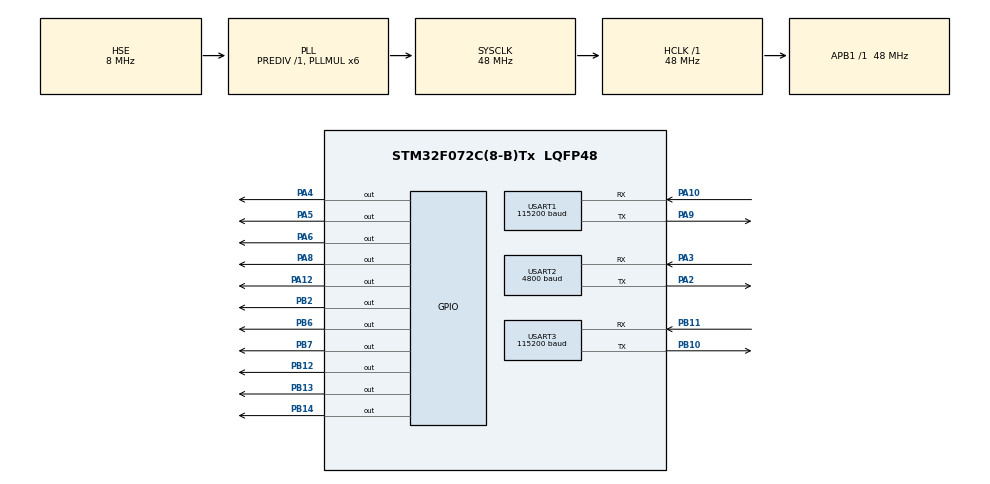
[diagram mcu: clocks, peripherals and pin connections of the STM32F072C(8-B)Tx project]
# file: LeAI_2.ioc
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Dma.Request0=USART1_RX
Dma.Request1=USART1_TX
Dma.Request2=USART3_RX
Dma.Request3=USART3_TX
Dma.Request4=USART2_RX
Dma.Request5=USART2_TX
Dma.USART1_RX.0.Direction=DMA_PERIPH_TO_MEMORY
Dma.USART1_RX.0.Instance=DMA1_Channel3
Dma.USART1_RX.0.MemDataAlignment=DMA_MDATAALIGN_BYTE
Dma.USART1_RX.0.MemInc=DMA_MINC_ENABLE
Dma.USART1_RX.0.Mode=DMA_CIRCULAR
Dma.USART1_RX.0.PeriphDataAlignment=DMA_PDATAALIGN_BYTE
Dma.USART1_RX.0.PeriphInc=DMA_PINC_DISABLE
Dma.USART1_RX.0.Priority=DMA_PRIORITY_LOW
Dma.USART1_TX.1.Direction=DMA_MEMORY_TO_PERIPH
Dma.USART1_TX.1.Instance=DMA1_Channel2
Dma.USART1_TX.1.MemDataAlignment=DMA_MDATAALIGN_BYTE
Dma.USART1_TX.1.MemInc=DMA_MINC_ENABLE
Dma.USART1_TX.1.Mode=DMA_NORMAL
Dma.USART1_TX.1.PeriphDataAlignment=DMA_PDATAALIGN_BYTE
Dma.USART1_TX.1.PeriphInc=DMA_PINC_DISABLE
Dma.USART1_TX.1.Priority=DMA_PRIORITY_LOW
Dma.USART2_RX.4.Direction=DMA_PERIPH_TO_MEMORY
Dma.USART2_RX.4.Instance=DMA1_Channel5
Dma.USART2_RX.4.MemDataAlignment=DMA_MDATAALIGN_BYTE
Dma.USART2_RX.4.MemInc=DMA_MINC_ENABLE
Dma.USART2_RX.4.Mode=DMA_CIRCULAR
Dma.USART2_RX.4.PeriphDataAlignment=DMA_PDATAALIGN_BYTE
Dma.USART2_RX.4.PeriphInc=DMA_PINC_DISABLE
Dma.USART2_RX.4.Priority=DMA_PRIORITY_LOW
Dma.USART2_TX.5.Direction=DMA_MEMORY_TO_PERIPH
Dma.USART2_TX.5.Instance=DMA1_Channel4
Dma.USART2_TX.5.MemDataAlignment=DMA_MDATAALIGN_BYTE
Dma.USART2_TX.5.MemInc=DMA_MINC_ENABLE
Dma.USART2_TX.5.Mode=DMA_CIRCULAR
Dma.USART2_TX.5.PeriphDataAlignment=DMA_PDATAALIGN_BYTE
Dma.USART2_TX.5.PeriphInc=DMA_PINC_DISABLE
Dma.USART2_TX.5.Priority=DMA_PRIORITY_LOW
Dma.USART3_RX.2.Direction=DMA_PERIPH_TO_MEMORY
Dma.USART3_RX.2.Instance=DMA1_Channel6
Dma.USART3_RX.2.MemDataAlignment=DMA_MDATAALIGN_BYTE
Dma.USART3_RX.2.MemInc=DMA_MINC_ENABLE
Dma.USART3_RX.2.Mode=DMA_CIRCULAR
Dma.USART3_RX.2.PeriphDataAlignment=DMA_PDATAALIGN_BYTE
Dma.USART3_RX.2.PeriphInc=DMA_PINC_DISABLE
Dma.USART3_RX.2.Priority=DMA_PRIORITY_HIGH
Dma.USART3_TX.3.Direction=DMA_MEMORY_TO_PERIPH
Dma.USART3_TX.3.Instance=DMA1_Channel7
Dma.USART3_TX.3.MemDataAlignment=DMA_MDATAALIGN_BYTE
Dma.USART3_TX.3.MemInc=DMA_MINC_ENABLE
Dma.USART3_TX.3.Mode=DMA_NORMAL
Dma.USART3_TX.3.PeriphDataAlignment=DMA_PDATAALIGN_BYTE
Dma.USART3_TX.3.PeriphInc=DMA_PINC_DISABLE
Dma.USART3_TX.3.Priority=DMA_PRIORITY_HIGH
Mcu.Family=STM32F0
Mcu.Name=STM32F072C(8-B)Tx
Mcu.Package=LQFP48
NVIC.DMA1_Channel2_3_IRQn=true\:0\:0\:false\:false\:true\:false\:true
NVIC.DMA1_Channel4_5_6_7_IRQn=true\:0\:0\:false\:false\:true\:false\:true
NVIC.USART1_IRQn=true\:0\:0\:false\:false\:true\:true\:true
NVIC.USART2_IRQn=true\:0\:0\:false\:false\:true\:true\:true
NVIC.USART3_4_IRQn=true\:0\:0\:false\:false\:true\:true\:true
PA10.GPIO_ModeDefaultPP=GPIO_MODE_AF_OD
PA10.GPIO_PuPd=GPIO_NOPULL
PA10.Mode=Asynchronous
PA10.Signal=USART1_RX
PA12.GPIO_ModeDefaultOutputPP=GPIO_MODE_OUTPUT_PP
PA12.GPIO_Speed=GPIO_SPEED_FREQ_LOW
PA12.Signal=GPIO_Output
PA2.Mode=Asynchronous
PA2.Signal=USART2_TX
PA3.Mode=Asynchronous
PA3.Signal=USART2_RX
PA4.GPIO_ModeDefaultOutputPP=GPIO_MODE_OUTPUT_PP
PA4.GPIO_PuPd=GPIO_NOPULL
PA4.GPIO_Speed=GPIO_SPEED_FREQ_HIGH
PA4.Signal=GPIO_Output
PA5.Signal=GPIO_Output
PA6.Signal=GPIO_Output
PA8.Signal=GPIO_Output
PA9.GPIO_ModeDefaultPP=GPIO_MODE_AF_OD
PA9.GPIO_PuPd=GPIO_NOPULL
PA9.Mode=Asynchronous
PA9.Signal=USART1_TX
PB10.GPIO_ModeDefaultPP=GPIO_MODE_AF_PP
PB10.GPIO_PuPd=GPIO_PULLUP
PB10.GPIO_Speed=GPIO_SPEED_FREQ_LOW
PB10.Mode=Asynchronous
PB10.Signal=USART3_TX
PB11.GPIO_ModeDefaultPP=GPIO_MODE_AF_OD
PB11.GPIO_PuPd=GPIO_NOPULL
PB11.GPIO_Speed=GPIO_SPEED_FREQ_LOW
PB11.Mode=Asynchronous
PB11.Signal=USART3_RX
PB12.Signal=GPIO_Output
PB13.Signal=GPIO_Output
PB14.Signal=GPIO_Output
PB2.Signal=GPIO_Output
PB6.GPIO_ModeDefaultOutputPP=GPIO_MODE_OUTPUT_PP
PB6.Signal=GPIO_Output
PB7.GPIO_ModeDefaultOutputPP=GPIO_MODE_OUTPUT_PP
PB7.GPIO_PuPd=GPIO_NOPULL
PB7.Signal=GPIO_Output
PF0-OSC_IN.Mode=HSE-External-Oscillator
PF0-OSC_IN.Signal=RCC_OSC_IN
PF1-OSC_OUT.Mode=HSE-External-Oscillator
PF1-OSC_OUT.Signal=RCC_OSC_OUT
ProjectManager.HeapSize=0x200
ProjectManager.StackSize=0x400
ProjectManager.TargetToolchain=MDK-ARM V5.27
RCC.AHBFreq_Value=48000000
RCC.APB1Freq_Value=48000000
RCC.APB1TimFreq_Value=48000000
RCC.HCLKFreq_Value=48000000
RCC.PLLMUL=RCC_PLL_MUL6
RCC.PLLSourceVirtual=RCC_PLLSOURCE_HSE
RCC.SYSCLKFreq_VALUE=48000000
RCC.SYSCLKSource=RCC_SYSCLKSOURCE_PLLCLK
USART1.BaudRate=115200
USART1.VirtualMode-Asynchronous=VM_ASYNC
USART2.BaudRate=4800
USART2.VirtualMode-Asynchronous=VM_ASYNC
USART3.BaudRate=115200
USART3.SwapParam=ADVFEATURE_SWAP_ENABLE
USART3.VirtualMode-Asynchronous=VM_ASYNC
board=custom

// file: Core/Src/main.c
/* USER CODE BEGIN Header */
/**
  ******************************************************************************
  * @file           : main.c
  * @brief          : Main program body
  ******************************************************************************
  * @attention
  *
  * <h2><center>&copy; Copyright (c) 2020 STMicroelectronics.
  * All rights reserved.</center></h2>
  *
  * This software component is licensed by ST under BSD 3-Clause license,
  * the "License"; You may not use this file except in compliance with the
  * License. You may obtain a copy of the License at:
  *                        opensource.org/licenses/BSD-3-Clause
  *
  ******************************************************************************
  */
/* USER CODE END Header */

#include "main.h"

/* USER CODE BEGIN Includes */
#include <string.h>
#include <stdbool.h>
#include "stdio.h"
#include "tool.h"
#include "bc20.h"
#include "bms.h"
#include "task.h"
#include "led.h"
#include "timer.h"
#include "track.h"
#include "app_gnss.h"
/* USER CODE END Includes */

UART_HandleTypeDef huart1;
UART_HandleTypeDef huart2;
UART_HandleTypeDef huart3;
DMA_HandleTypeDef hdma_usart1_rx;
DMA_HandleTypeDef hdma_usart1_tx;
DMA_HandleTypeDef hdma_usart2_rx;
DMA_HandleTypeDef hdma_usart2_tx;
DMA_HandleTypeDef hdma_usart3_rx;
DMA_HandleTypeDef hdma_usart3_tx;

/* USER CODE BEGIN PV */
/*
uart1:dbg, 115200
uart2:bms, 4800
uart3:bc, 115200
*/
#define UPLOAD_RETRY_MAX 10 //数据上传最大重试次数
bool bms_data_new;
char msg[MSG_LEN];
uint8_t upload_retry; //数据上传重试次数

//uint8_t bms_read.step;
//uint8_t bms_upload.step;
//uint8_t gnss_read.step;
//uint8_t gnss_upload.step;
stu_father father;
stu_bms_read bms_read;
stu_bms_upload bms_upload;
stu_gnss_read gnss_read;
stu_need_path need_path;
stu_daemon daemon;

uint8_t task_led = Task_00;
uint8_t task_bms_read = Task_01;
uint8_t task_bms_upload = Task_02;
uint8_t task_upload_daemon = Task_03;
uint8_t task_gnss_read = Task_04;
uint8_t task_gnss_upload = Task_05;
uint8_t task_nb_cmd = Task_06;
uint8_t task_father = Task_07;
uint8_t task_track = Task_08;
uint8_t task_need_path = Task_09;

/* USER CODE END PV */

void SystemClock_Config(void);
static void MX_GPIO_Init(void);
static void MX_DMA_Init(void);
static void MX_USART1_UART_Init(void);
static void MX_USART3_UART_Init(void);
static void MX_USART2_UART_Init(void);
/* USER CODE BEGIN PFP */
void led_blink(void);
bool sys_init(void);
void dcdc_open(void);
bool sys_init(void);
void led_blink(void);
void data_read(void);
void data_upload(void);
void data_upload_daemon(void);
void gnss_upload_task(void);
void gnss_read_task(void);
void nb_cmd_exe(void);
void father_task(void);
void need_path_task(void);
/* USER CODE END PFP */

int main(void)
{

  /* MCU Configuration--------------------------------------------------------*/

  /* Reset of all peripherals, Initializes the Flash interface and the Systick. */
  HAL_Init();

  /* Configure the system clock */
  SystemClock_Config();

  /* Initialize all configured peripherals */
  MX_GPIO_Init();
  MX_DMA_Init();
  MX_USART1_UART_Init();
  MX_USART3_UART_Init();
  MX_USART2_UART_Init();
  /* USER CODE BEGIN 2 */
  /*
  串口使用说明
  USART1: Debug
  USART2: 485,BMS
  USART3: NB,BC20
  */
  dcdc_open();                //�?启DCDC电源
  __HAL_DBGMCU_FREEZE_IWDG(); //调试时关�?看门�?

  dbg_uart_recv = bms_uart_recv = bc_uart_recv = false;
  dbg_uart_recv_len = bms_uart_recv_len = bc_uart_recv_len = 0;
  dbg_uart_dma_len = bms_uart_dma_len = bc_uart_dma_len = BUF_LEN;

  memset(&bms_upload, 0x00, sizeof(stu_bms_upload));
  memset(&bms_read, 0x00, sizeof(stu_bms_read));
  memset(&gnss_read, 0x00, sizeof(stu_gnss_read));
  memset(&gnss_upload, 0x00, sizeof(stu_gnss_upload));
  memset(&father, 0x00, sizeof(stu_father));
  memset(&daemon, 0x00, sizeof(stu_daemon));
#if defined(DBGMCU_APB1_FZ_DBG_IWDG_STOP)
  printf("DBGMCU_APB1_FZ_DBG_IWDG_STOP defined.\r\n");
#endif
  //看门狗时间Tout = 4*4096/40000 = 0.4096S
  led_close(0);
  led_close(1);
  led_close(2);
  led_close(3);
  led_close(4);
  led_close(5);

  led_toggen(LED_SYS);
  bms_init();
  led_toggen(LED_SYS);
//  while(1)
//  {
//      HAL_Delay(1000);
//        led_toggen(LED_SYS);
//  }
  if (!sys_init())
  {
    printf("系统初�?�化失败�?");
    while (1)
      ;
  }

  if ((TASK_INITIALIZED != configTask(task_led, led_blink, TASK_1S)) || (TASK_STARTED != startTask(task_led, 1)))
  {
    printf("CREATE TASK ERROR(%u)!\n", __LINE__);
    return 1;
  }
  if ((TASK_INITIALIZED != configTask(task_bms_read, data_read, TASK_100MS)) || (TASK_STARTED != startTask(task_bms_read, 1)))
  {
    printf("CREATE TASK ERROR(%u)!\n", __LINE__);
    return 1;
  }

  if ((TASK_INITIALIZED != configTask(task_bms_upload, data_upload, TASK_100MS)) || (TASK_STARTED != startTask(task_bms_upload, 1)))
  {
    printf("CREATE TASK ERROR(%u)!\n", __LINE__);
    return 1;
  }

  if ((TASK_INITIALIZED != configTask(task_upload_daemon, data_upload_daemon, TASK_1S)) || (TASK_STARTED != startTask(task_upload_daemon, 1)))
  {
    printf("CREATE TASK ERROR(%u)!\n", __LINE__);
    return 1;
  }

  if ((TASK_INITIALIZED != configTask(task_gnss_read, gnss_read_task, TASK_100MS)) || (TASK_STARTED != startTask(task_gnss_read, 1)))
  {
    printf("CREATE TASK ERROR(%u)!\n", __LINE__);
    return 1;
  }

  if ((TASK_INITIALIZED != configTask(task_gnss_upload, gnss_upload_task, TASK_100MS)) || (TASK_STARTED != startTask(task_gnss_upload, 1)))
  {
    printf("CREATE TASK ERROR(%u)!\n", __LINE__);
    return 1;
  }

  if ((TASK_INITIALIZED != configTask(task_nb_cmd, nb_cmd_exe, TASK_10MS)) || (TASK_STARTED != startTask(task_nb_cmd, 1)))
  {
    printf("CREATE TASK ERROR(%u)!\n", __LINE__);
    return 1;
  }

  if ((TASK_INITIALIZED != configTask(task_father, father_task, TASK_1S)) || (TASK_STARTED != startTask(task_father, 1)))
  {
    printf("CREATE TASK ERROR(%u)!\n", __LINE__);
    return 1;
  }
  printf("begin run\n");

  if ((TASK_INITIALIZED != configTask(task_need_path, need_path_task, TASK_100MS * 5)) || (TASK_STARTED != startTask(task_need_path, 1)))
  {
    printf("CREATE TASK ERROR(%u)!\n", __LINE__);
    return 1;
  }
  printf("begin run\n");

  /* USER CODE END 2 */

  /* Infinite loop */
  /* USER CODE BEGIN WHILE */
  while (1)
  {
    FEED_DOG;
    task_handler();

    /* USER CODE END WHILE */

  }
}

void SystemClock_Config(void)
{
  RCC_OscInitTypeDef RCC_OscInitStruct = {0};
  RCC_ClkInitTypeDef RCC_ClkInitStruct = {0};
  RCC_PeriphCLKInitTypeDef PeriphClkInit = {0};

  /** Initializes the CPU, AHB and APB busses clocks
  */
  RCC_OscInitStruct.OscillatorType = RCC_OSCILLATORTYPE_HSE;
  RCC_OscInitStruct.HSEState = RCC_HSE_ON;
  RCC_OscInitStruct.PLL.PLLState = RCC_PLL_ON;
  RCC_OscInitStruct.PLL.PLLSource = RCC_PLLSOURCE_HSE;
  RCC_OscInitStruct.PLL.PLLMUL = RCC_PLL_MUL6;
  RCC_OscInitStruct.PLL.PREDIV = RCC_PREDIV_DIV1;
  if (HAL_RCC_OscConfig(&RCC_OscInitStruct) != HAL_OK)
  {
    Error_Handler();
  }
  /** Initializes the CPU, AHB and APB busses clocks
  */
  RCC_ClkInitStruct.ClockType = RCC_CLOCKTYPE_HCLK|RCC_CLOCKTYPE_SYSCLK
                              |RCC_CLOCKTYPE_PCLK1;
  RCC_ClkInitStruct.SYSCLKSource = RCC_SYSCLKSOURCE_PLLCLK;
  RCC_ClkInitStruct.AHBCLKDivider = RCC_SYSCLK_DIV1;
  RCC_ClkInitStruct.APB1CLKDivider = RCC_HCLK_DIV1;

  if (HAL_RCC_ClockConfig(&RCC_ClkInitStruct, FLASH_LATENCY_1) != HAL_OK)
  {
    Error_Handler();
  }
  PeriphClkInit.PeriphClockSelection = RCC_PERIPHCLK_USART1|RCC_PERIPHCLK_USART2;
  PeriphClkInit.Usart1ClockSelection = RCC_USART1CLKSOURCE_PCLK1;
  PeriphClkInit.Usart2ClockSelection = RCC_USART2CLKSOURCE_PCLK1;
  if (HAL_RCCEx_PeriphCLKConfig(&PeriphClkInit) != HAL_OK)
  {
    Error_Handler();
  }
}

static void MX_USART1_UART_Init(void)
{

  huart1.Instance = USART1;
  huart1.Init.BaudRate = 115200;
  huart1.Init.WordLength = UART_WORDLENGTH_8B;
  huart1.Init.StopBits = UART_STOPBITS_1;
  huart1.Init.Parity = UART_PARITY_NONE;
  huart1.Init.Mode = UART_MODE_TX_RX;
  huart1.Init.HwFlowCtl = UART_HWCONTROL_NONE;
  huart1.Init.OverSampling = UART_OVERSAMPLING_16;
  huart1.Init.OneBitSampling = UART_ONE_BIT_SAMPLE_DISABLE;
  huart1.AdvancedInit.AdvFeatureInit = UART_ADVFEATURE_NO_INIT;
  if (HAL_UART_Init(&huart1) != HAL_OK)
  {
    Error_Handler();
  }
  /* USER CODE BEGIN USART1_Init 2 */
  __HAL_UART_ENABLE_IT(&huart1, UART_IT_IDLE);
  HAL_UART_Receive_DMA(&huart1, dbg_uart_buf, BUF_LEN); //

  /* USER CODE END USART1_Init 2 */

}

static void MX_USART2_UART_Init(void)
{

  huart2.Instance = USART2;
  huart2.Init.BaudRate = 4800;
  huart2.Init.WordLength = UART_WORDLENGTH_8B;
  huart2.Init.StopBits = UART_STOPBITS_1;
  huart2.Init.Parity = UART_PARITY_NONE;
  huart2.Init.Mode = UART_MODE_TX_RX;
  huart2.Init.HwFlowCtl = UART_HWCONTROL_NONE;
  huart2.Init.OverSampling = UART_OVERSAMPLING_16;
  huart2.Init.OneBitSampling = UART_ONE_BIT_SAMPLE_DISABLE;
  huart2.AdvancedInit.AdvFeatureInit = UART_ADVFEATURE_NO_INIT;
  if (HAL_UART_Init(&huart2) != HAL_OK)
  {
    Error_Handler();
  }
  /* USER CODE BEGIN USART2_Init 2 */
  __HAL_UART_ENABLE_IT(&huart2, UART_IT_IDLE);

  /* USER CODE END USART2_Init 2 */

}

static void MX_USART3_UART_Init(void)
{

  huart3.Instance = USART3;
  huart3.Init.BaudRate = 115200;
  huart3.Init.WordLength = UART_WORDLENGTH_8B;
  huart3.Init.StopBits = UART_STOPBITS_1;
  huart3.Init.Parity = UART_PARITY_NONE;
  huart3.Init.Mode = UART_MODE_TX_RX;
  huart3.Init.HwFlowCtl = UART_HWCONTROL_NONE;
  huart3.Init.OverSampling = UART_OVERSAMPLING_16;
  huart3.Init.OneBitSampling = UART_ONE_BIT_SAMPLE_DISABLE;
  huart3.AdvancedInit.AdvFeatureInit = UART_ADVFEATURE_SWAP_INIT;
  huart3.AdvancedInit.Swap = UART_ADVFEATURE_SWAP_ENABLE;
  if (HAL_UART_Init(&huart3) != HAL_OK)
  {
    Error_Handler();
  }
  /* USER CODE BEGIN USART3_Init 2 */
  bc_uart_fifo.header = bc_uart_fifo.tail = 0;
  __HAL_UART_ENABLE_IT(&huart3, UART_IT_IDLE);
  HAL_UART_Receive_DMA(&huart3, bc_uart_fifo.buf[bc_uart_fifo.header].dat, BUF_LEN); //

  /* USER CODE END USART3_Init 2 */

}

static void MX_DMA_Init(void)
{

  /* DMA controller clock enable */
  __HAL_RCC_DMA1_CLK_ENABLE();

  /* DMA interrupt init */
  /* DMA1_Channel2_3_IRQn interrupt configuration */
  HAL_NVIC_SetPriority(DMA1_Channel2_3_IRQn, 0, 0);
  HAL_NVIC_EnableIRQ(DMA1_Channel2_3_IRQn);
  /* DMA1_Channel4_5_6_7_IRQn interrupt configuration */
  HAL_NVIC_SetPriority(DMA1_Channel4_5_6_7_IRQn, 0, 0);
  HAL_NVIC_EnableIRQ(DMA1_Channel4_5_6_7_IRQn);

}

static void MX_GPIO_Init(void)
{
  GPIO_InitTypeDef GPIO_InitStruct = {0};

  /* GPIO Ports Clock Enable */
  __HAL_RCC_GPIOF_CLK_ENABLE();
  __HAL_RCC_GPIOA_CLK_ENABLE();
  __HAL_RCC_GPIOB_CLK_ENABLE();

  /*Configure GPIO pin Output Level */
  HAL_GPIO_WritePin(GPIOA, GPIO_PIN_4|GPIO_PIN_5|GPIO_PIN_6|GPIO_PIN_8
                          |GPIO_PIN_12, GPIO_PIN_RESET);

  /*Configure GPIO pin Output Level */
  HAL_GPIO_WritePin(GPIOB, GPIO_PIN_2|GPIO_PIN_12|GPIO_PIN_13|GPIO_PIN_14
                          |GPIO_PIN_6|GPIO_PIN_7, GPIO_PIN_RESET);

  /*Configure GPIO pin : PA4 */
  GPIO_InitStruct.Pin = GPIO_PIN_4;
  GPIO_InitStruct.Mode = GPIO_MODE_OUTPUT_PP;
  GPIO_InitStruct.Pull = GPIO_NOPULL;
  GPIO_InitStruct.Speed = GPIO_SPEED_FREQ_HIGH;
  HAL_GPIO_Init(GPIOA, &GPIO_InitStruct);

  /*Configure GPIO pins : PA5 PA6 PA8 PA12 */
  GPIO_InitStruct.Pin = GPIO_PIN_5|GPIO_PIN_6|GPIO_PIN_8|GPIO_PIN_12;
  GPIO_InitStruct.Mode = GPIO_MODE_OUTPUT_PP;
  GPIO_InitStruct.Pull = GPIO_NOPULL;
  GPIO_InitStruct.Speed = GPIO_SPEED_FREQ_LOW;
  HAL_GPIO_Init(GPIOA, &GPIO_InitStruct);

  /*Configure GPIO pins : PB2 PB12 PB13 PB14
                           PB6 PB7 */
  GPIO_InitStruct.Pin = GPIO_PIN_2|GPIO_PIN_12|GPIO_PIN_13|GPIO_PIN_14
                          |GPIO_PIN_6|GPIO_PIN_7;
  GPIO_InitStruct.Mode = GPIO_MODE_OUTPUT_PP;
  GPIO_InitStruct.Pull = GPIO_NOPULL;
  GPIO_InitStruct.Speed = GPIO_SPEED_FREQ_LOW;
  HAL_GPIO_Init(GPIOB, &GPIO_InitStruct);

}

/* USER CODE BEGIN 4 */
//void SysTick_Handler(void)
//{
//  systick_count++;
//  HAL_IncTick();
//  HAL_SYSTICK_IRQHandler();
//}

void led_blink()
{
  led_toggen(LED_SYS);
}

#ifdef __GNUC__
#define PUTCHAR_PROTOTYPE int __io_putchar(int ch)
#else
#define PUTCHAR_PROTOTYPE int fputc(int ch, FILE *f)
#endif
PUTCHAR_PROTOTYPE
{
  HAL_UART_Transmit(&huart1, (uint8_t *)&ch, 1, 0xFFFF);
  return ch;
}

/*
�?启dcdc�?
先开启VDD EN，使得DCDC电路�?始工�?
等待500ms（�?�果示波器测试ok�?以缩�?这个时间�?
再开启VCC SET，�?�置为�?�过DCDC供电
*/
void dcdc_open(void)
{
  //先开启VDD EN，使得DCDC电路�?始工�?
  HAL_GPIO_WritePin(GPIOA, GPIO_PIN_5, GPIO_PIN_SET);

  //等待500ms（�?�果示波器测试ok�?以缩�?这个时间�?
  osDelay(500);

  //再开启VCC SET，�?�置为�?�过DCDC供电
  HAL_GPIO_WritePin(GPIOA, GPIO_PIN_6, GPIO_PIN_SET);
}

bool sys_init()
{
  led_toggen(LED_SYS);
  led_open(LED_NB);
  bc_reset();

  led_toggen(LED_SYS);
  if (!bc_init())
  {
    sys_reset();
    return false;
  }

  led_toggen(LED_SYS);
  if (!bc_pdp_act())
  {
    sys_reset();
    return false;
  }

  led_toggen(LED_SYS);
  if (!bc_conn_LWM2M())
  {
    sys_reset();
    return false;
  }

  led_toggen(LED_SYS);
  if (!bc_init_gnss())
  {
    sys_reset();
    return false;
  }
  led_toggen(LED_SYS);

  printf(">> System started.\n");
  printf("\n--- --- --- --- --- --- --- --- --- --- --- --- --- --- --- --- ---\n\n");
  printf("Hi, I'm LeAI mini:)\n\n");
  printf("LeAI was born on March 17, 2020,\n");
  printf("LeAI_mini was born on May 27, 2020,\n");
  printf("I am created on Sep 23, 2020.\n");
  printf("Time flies, come on!\n");
  printf("\n--- --- --- --- --- --- --- --- --- --- --- --- --- --- --- --- ---\n");

  return true;
}

void data_read()
{
  switch (bms_read.step)
  {
  case 0x00:
    //防�?�出现bms_data_new还没有�?�false，但是data_upload任务已经�?干掉的情况�?�致锁�??
    if (bms_read.to_stop)
    {
      bms_read.step = 0xFF;
      break;
    }
    else
    {
      if (bms_data_new)
      {
        bms_read.step = 0xFF;
      }
      else
      {
        printf("\r\nread data...");
        led_toggen(LED_BMS);
        bms_read.step++;
      }
    }
    break;

  case 0x01:
    printf("|ntc");
    if (!bms_get_ntc())
      bms_read.step = 0xFF;
    led_toggen(LED_BMS);
    bms_read.step++;
    break;

  case 0x02:
    printf("|cell_v");
    if (!bms_get_v())
      bms_read.step = 0xFF;
    led_toggen(LED_BMS);
    bms_read.step++;
    break;

  case 0x03:
    printf("|pack_i");
    if (!bms_get_i())
      bms_read.step = 0xFF;
    led_toggen(LED_BMS);
    bms_read.step++;
    break;

  case 0x04:
    printf("|pack_v");
    if (!bms_get_pack_v())
      bms_read.step = 0xFF;
    led_toggen(LED_BMS);
    bms_read.step++;
    break;

  case 0x05:
    printf("|fcc");
    if (!bms_get_fcc())
      bms_read.step = 0xFF;
    led_toggen(LED_BMS);
    bms_read.step++;
    break;

  case 0x06:
    printf("|soc");
    if (!bms_get_soc())
      bms_read.step = 0xFF;
    led_toggen(LED_BMS);
    bms_read.step++;
    break;

  case 0x07:
    printf("|bms_get_status");
    if (!bms_get_status())
      bms_read.step = 0xFF;
    led_toggen(LED_BMS);
    bms_read.step++;
    break;

  case 0x08:
    bms_data_new = true;
    bms_read.step++;
    led_open(LED_BMS);
    break;

  default:
    if (bms_read.to_stop)
    {
      bms_read.stopped = true;
    }
    else
    {
      bms_read.step = 0;
    }
    break;
  }
}

void data_upload()
{
#define BMS_UPLOAD_OVER 0xF0
  static uint8_t index;
  //  static uint8_t first;
  switch (bms_upload.step)
  {
  case 0x00:
    if (bms_upload.to_stop)
    {
      bms_upload.step = 0xFF;
      break;
    }
    else
    {
      if (bms_data_new)
      {
        if (!bc_lock())
        {
          printf("\r\ndata upload\r\n");
          set_bc_lock(true); //BMS upload�?�?
          printf("set_bc_lock(true) in %u\r\n", __LINE__);
          index = 6;
          bms_upload.step++;
        }
      }
    }
    break;

  case 0x01:
    sprintf(msg, "ntc,%u,%u,%u,%u,%u",
            ntc[0], ntc[1], ntc[2], ntc[3], ntc[4]);
    sprintf(atstr, "AT+MIPLNOTIFY=0,%s,%u,0,%u,1,%d,\"%s\",%u,0\r\n", objtnum, BAT_OBJ, NTC_RES, strlen(msg), msg, index);
    printf("atstr(%u)=%s\r\n:", strlen(atstr), atstr);
    nb_cmd_async(atstr);
    led_toggen(LED_NB);
    index--;
    //   first = true;
    tm_set(TM_BMS, 3000);
    bms_upload.step++;
    break;
  case 0x02:
    if (!tm_out(TM_BMS))
    {
      if (bc_uart_load_buf(nb_recv))
      {
        printf("*******************\r\n");
        printf(nb_recv);
        printf("*******************\r\n");
        /*
        if (first)
        {
          printf("first msg, skip.\r\n");
          first = false;
        }
        else
        {
        */
        if (strstr(nb_recv, "OK"))
        {
          bms_upload.step++;
        }
        //}
      }
    }
    else
    {
      //等待消息失败
      bms_upload.step = BMS_UPLOAD_OVER;
      upload_retry++;
    }
    break;

  case 0x03:
    sprintf(msg, "cell_v1,%u,%u,%u,%u,%u",
            cell_v[0], cell_v[1], cell_v[2], cell_v[3], cell_v[4]);
    sprintf(atstr, "AT+MIPLNOTIFY=0,%s,%u,0,%u,1,%d,\"%s\",%u,0\r\n", objtnum, BAT_OBJ, CELL_RES_1_5, strlen(msg), msg, index);
    printf("atstr(%u)=%s\r\n:", strlen(atstr), atstr);
    nb_cmd_async(atstr);
    led_toggen(LED_NB);
    index--;
    //    first = true;
    tm_set(TM_BMS, 3000);
    bms_upload.step++;
    break;
  case 0x04:
    if (!tm_out(TM_BMS))
    {
      if (bc_uart_load_buf(nb_recv))
      {
        printf("*******************\r\n");
        printf(nb_recv);
        printf("*******************\r\n");
        /*
        if (first)
        {
          printf("first msg, skip.\r\n");
          first = false;
        }
        else
        {
          */
        if (strstr(nb_recv, "OK"))
        {
          bms_upload.step++;
        }
        //}
      }
    }
    else
    {
      bms_upload.step = BMS_UPLOAD_OVER;
      upload_retry++;
    }
    break;
  case 0x05:
    sprintf(msg, "cell_v2,%u,%u,%u,%u,%u",
            cell_v[5], cell_v[6], cell_v[7], cell_v[8], cell_v[9]);
    sprintf(atstr, "AT+MIPLNOTIFY=0,%s,%u,0,%u,1,%d,\"%s\",%u,0\r\n", objtnum, BAT_OBJ, CELL_RES_6_10, strlen(msg), msg, index);
    printf("atstr(%u)=%s\r\n:", strlen(atstr), atstr);
    nb_cmd_async(atstr);
    led_toggen(LED_NB);
    index--;
    //    first = true;
    tm_set(TM_BMS, 3000);
    bms_upload.step++;
    break;
  case 0x06:
    if (!tm_out(TM_BMS))
    {
      if (bc_uart_load_buf(nb_recv))
      {
        printf("*******************\r\n");
        printf(nb_recv);
        printf("*******************\r\n");
        /*
        if (first)
        {
          printf("first msg, skip.\r\n");
          first = false;
        }
        else
        {

*/
        if (strstr(nb_recv, "OK"))
        {
          bms_upload.step++;
        }
        //}
      }
    }
    else
    {
      bms_upload.step = BMS_UPLOAD_OVER;
      upload_retry++;
    }
    break;
  case 0x07:
    sprintf(msg, "cell_v3,%u,%u,%u,%u,%u",
            cell_v[10], cell_v[11], cell_v[12], cell_v[13], cell_v[14]);
    sprintf(atstr, "AT+MIPLNOTIFY=0,%s,%u,0,%u,1,%d,\"%s\",%u,0\r\n", objtnum, BAT_OBJ, CELL_RES_11_15, strlen(msg), msg, index);
    printf("atstr(%u)=%s\r\n:", strlen(atstr), atstr);
    nb_cmd_async(atstr);
    led_toggen(LED_NB);
    index--;
    //first = true;
    tm_set(TM_BMS, 3000);
    bms_upload.step++;
    break;
  case 0x08:
    if (!tm_out(TM_BMS))
    {
      if (bc_uart_load_buf(nb_recv))
      {
        printf("*******************\r\n");
        printf(nb_recv);
        printf("*******************\r\n");
        /*
        if (first)
        {
          printf("first msg, skip.\r\n");
          first = false;
        }
        else
        {
          */
        if (strstr(nb_recv, "OK"))
        {
          bms_upload.step++;
        }
        //}
      }
    }
    else
    {
      bms_upload.step = BMS_UPLOAD_OVER;
      upload_retry++;
    }
    break;

  case 0x09:
    sprintf(msg, "cell_v4,%u,%u,%u,%u,%u",
            cell_v[15], cell_v[16], cell_v[17], cell_v[18], cell_v[19]);
    sprintf(atstr, "AT+MIPLNOTIFY=0,%s,%u,0,%u,1,%d,\"%s\",%u,0\r\n", objtnum, BAT_OBJ, CELL_RES_15_20, strlen(msg), msg, index);
    printf("atstr(%u)=%s\r\n:", strlen(atstr), atstr);
    nb_cmd_async(atstr);
    led_toggen(LED_NB);
    index--;
    //first = true;
    tm_set(TM_BMS, 3000);
    bms_upload.step++;
    break;

  case 0x0A:
    if (!tm_out(TM_BMS))
    {
      if (bc_uart_load_buf(nb_recv))
      {
        printf("*******************\r\n");
        printf(nb_recv);
        printf("*******************\r\n");
        /*
        if (first)
        {
          printf("first msg, skip.\r\n");
          first = false;
        }
        else
        {
*/
        if (strstr(nb_recv, "OK"))
        {
          bms_upload.step++;
        }
        //       }
      }
    }
    else
    {
      bms_upload.step = BMS_UPLOAD_OVER;
      upload_retry++;
    }
    break;
  case 0x0B:
    sprintf(msg, "pack_res,%u,%d,%u,%u",
            pack_v, pack_i, soc, 45); //fcc先传固定�?,Albert , 200717
    sprintf(atstr, "AT+MIPLNOTIFY=0,%s,%u,0,%u,1,%d,\"%s\",%u,0\r\n", objtnum, BAT_OBJ, PACK_RES, strlen(msg), msg, index);
    printf("atstr(%u)=%s\r\n:", strlen(atstr), atstr);
    nb_cmd_async(atstr);
    led_toggen(LED_NB);
    index--;
    //first = true;
    tm_set(TM_BMS, 3000);
    bms_upload.step++;
    break;
  case 0x0C:
    if (!tm_out(TM_BMS))
    {
      if (bc_uart_load_buf(nb_recv))
      {
        printf("*******************\r\n");
        printf(nb_recv);
        printf("*******************\r\n");
        /*
        if (first)
        {
          printf("first msg, skip.\r\n");
          first = false;
        }
        else
        {
*/
        if (strstr(nb_recv, "OK"))
        {
          bms_upload.step++;
        }
        //        }
      }
    }
    else
    {
      bms_upload.step = BMS_UPLOAD_OVER;
      upload_retry++;
    }
    break;
  case 0x0D:
    sprintf(msg, "pack_status,%u,%u,%u,%u",
            bat_status.warn.byte, bat_status.protect.byte, bat_status.sys.byte, bat_status.sys2.byte); //系统状�?�上�?
    sprintf(atstr, "AT+MIPLNOTIFY=0,%s,%u,0,%u,1,%d,\"%s\",%u,0\r\n", objtnum, BAT_OBJ, PACK_STATUS, strlen(msg), msg, index);
    printf("atstr(%u)=%s\r\n:", strlen(atstr), atstr);
    nb_cmd_async(atstr);
    led_toggen(LED_NB);
    tm_set(TM_BMS, 3000);
    bms_upload.step++;
    break;
  case 0x0E:
    if (!tm_out(TM_BMS))
    {
      if (bc_uart_load_buf(nb_recv))
      {
        printf("*******************\r\n");
        printf(nb_recv);
        printf("*******************\r\n");
        if (strstr(nb_recv, "OK"))
        {
          bms_upload.step = BMS_UPLOAD_OVER;
          upload_retry = 0; //全部上传成功
        }
        //}
      }
    }
    else
    {
      bms_upload.step = BMS_UPLOAD_OVER;
      upload_retry++;
    }
    break;

  case BMS_UPLOAD_OVER:
    printf("set_bc_lock(false) in %u\r\n", __LINE__);
    set_bc_lock(false);   //data upload结束, 释放bc资源
    tm_set(TM_BMS, 1000); //暂停bms upload�?段时�?
    bms_data_new = false;
    led_close(LED_NB);
    bms_upload.step++;
    break;

  case BMS_UPLOAD_OVER + 1:
    if (tm_out(TM_BMS))
    {
      bms_upload.step++;
    }
    break;

  default:
    if (bms_upload.to_stop)
    {
      bms_upload.stopped = true;
    }
    else
    {
      bms_upload.step = 0;
    }
    break;
  }
}

//数据上传守护进程,1S运�??1�?
//如果连续30分钟step�?都没有变化，那么就重�?
void data_upload_daemon()
{
  if ((daemon.l_bms_upload != bms_upload.step) ||
      (daemon.l_gnss_read != gnss_read.step) ||
      (daemon.l_gnss_upload != gnss_upload.step) ||
      (daemon.l_track != track.step))
  {
    //有变�?
    daemon.time = 0;
    daemon.l_bms_upload = bms_upload.step;
    daemon.l_gnss_read = gnss_read.step;
    daemon.l_gnss_upload = gnss_upload.step;
    daemon.l_track = track.step;
  }
  else
  {
    daemon.time++;
  }

  if (daemon.time > 60 * 30)
  {
    printf("\r\n\r\n.restart of step\r\n\r\n");
    NVIC_SystemReset(); //重启系统
  }

  if (upload_retry >= UPLOAD_RETRY_MAX)
  {
    printf("\r\n\r\n.restart of upload\r\n\r\n");
    NVIC_SystemReset(); //重启系统
  }
}

//命令执行进程
void nb_cmd_exe()
{
  char *sx;
  int offset;

  if(nb_ctrl.step != 0x00)
    printf("nb_ctrl step=%u\r\n", nb_ctrl.step);
  switch (nb_ctrl.step)
  {
  case 0x00:
    //检查是否有数据
    if (nb_ctrl.has_dat)
    {
      nb_ctrl.step++;
    }

    break;

  case 0x01:
    sx = strstr(nb_ctrl.dat, "+MIPLEXECUTE:");
    printf("\r\nstr:%s\r\n", sx);
    printf("\r\nnb_recv:%s\r\n", nb_ctrl.dat);

    //获得命令下发的内容
    sscanf(sx, "+MIPLEXECUTE: %u,%u",
           &nb_ctrl.msg_res, &nb_ctrl.msg_id);
    sx = strstr(nb_ctrl.dat, "\"");
    if (sx == NULL)
    {
      //数据内容不对，回到初始状态，注意这里不能解锁bc，因为还没有上锁，如果解锁了，可能是把其他任务的锁解锁了
      nb_ctrl.has_dat = false;
      memset(nb_ctrl.dat, 0x00, NB_BUF_LEN);
      nb_ctrl.step = 0x00;
    }
    else
    {
      offset = 0;
      while (*(++sx) != '\"')
      {
        nb_ctrl.ex_msg[offset++] = *sx;
      }
      nb_ctrl.ex_msg[offset] = 0x00;
      printf("msg_res = %u\r\n", nb_ctrl.msg_res);
      printf("msg_id = %u\r\n", nb_ctrl.msg_id);
      printf("EXE: msg={%s}\r\n", nb_ctrl.ex_msg);
      //解析msg的值,a:开启， b：关闭
      if (nb_ctrl.ex_msg[0] == 'a')
      {
        led_open(LED_CTRL);
      }
      else if (nb_ctrl.ex_msg[0] == 'b')
      {
        led_close(LED_CTRL);
      }
      tm_set(TM_NB_CTRL, 4500);
      nb_ctrl.step++;
    }
    break;

  case 0x02:
    //等待bc资源并锁定
    if (!bc_lock())
    {
      set_bc_lock(true);
      nb_ctrl.step++;
    }
    else if (tm_out(TM_NB_CTRL))
    {
      //超时退出处理，回到初始状态，注意这里不能解锁bc，因为还没有上锁，如果解锁了，可能是把其他任务的锁解锁了
      nb_ctrl.has_dat = false;
      memset(nb_ctrl.dat, 0x00, NB_BUF_LEN);
      nb_ctrl.step = 0x00;
    }
    break;

  case 0x03:
    //返回命令包, 调用成功，第三个参数返回2
    //+MIPLEXECUTERSP: <ref>,<msgId>,<result> (2)
    sprintf(nb_ctrl.pri_atstr, "AT+MIPLEXECUTERSP=%u,%u,2\r\n", nb_ctrl.msg_res, nb_ctrl.msg_id);
  printf("send: nb_ctrl.pri_atstr: %s\r\n", nb_ctrl.pri_atstr);
    nb_cmd_async(nb_ctrl.pri_atstr);
  printf("send over.\r\n");
    nb_ctrl.step++;
    break;

  case 0x04:
    //注意要解锁bc资源
    nb_ctrl.has_dat = false;
    memset(nb_ctrl.dat, 0x00, NB_BUF_LEN);
    set_bc_lock(false);
    nb_ctrl.step = 0x00;
    break;

  default:
    nb_ctrl.step = 0x00;
    break;
  }
}

/*�?么时候需要采集轨迹？
 每�?�有放电电流持�??20秒钟后采集一�?
 采集完以后，除非连续20秒没有放电电流，否则不会继续计算�?否�??要采�?
*/
void need_path_task()
{
  switch (need_path.step)
  {
  case 0x00:
    need_path.step++;
    break;

  case 0x01:
    bms_get_i();
//�?计电流持�?时间
//放电电流大于1A,pack_i在bms任务�?�?持续更新
#define CUR_RUN_THE -500
    if (pack_i < CUR_RUN_THE)
    {
      need_path.times++;
    }
    else
    {
      need_path.uc_times++;
    }

    if (need_path.times + need_path.uc_times > 60)
    {
      //�?始采集轨迹的条件，无电流点数占比不超�?70%
      if ((need_path.uc_times < 42))
      {
        need_path.need = true;
        led_open(LED_PATH);
        need_path.step = 0x02;
      }
      else
      {
        //这�?�时间的无效点太多，重置计数�?
        need_path.times = 0;
        need_path.uc_times = 0;
      }
    }

    break;

  case 0x02:
    if (!need_path.need)
    {
      led_close(LED_PATH); //数据上传完以后关掉指示灯
      need_path.step = 0x03;
      need_path.times = 0;
      need_path.uc_times = 0;
    }
    break;

  case 0x03:
    bms_get_i();
    //�?计电流持�?时间
    //放电电流小于1A, 或�?��?�在充电，�??认为�?不�?�于运�?�状�?
    if (pack_i >= CUR_RUN_THE)
    {
      need_path.uc_times++;
    }
    else
    {
      led_open(LED_PATH); //�???��?�果重新计数，那么重新打�?�?
      need_path.uc_times = 0;
    }
    //持续若干次没有放电电流，则�?�为停�?�时间足�?
    if (need_path.uc_times > 30)
    {
      led_close(LED_PATH); //当空闲时间达标以后，关掉指示�?，提示可以上电流�?
      need_path.times = 0;
      need_path.uc_times = 0;
      need_path.step = 0x01;
    }
    break;
  default:
    break;
  }
  return;
}

/*
高级策略（father task�?
判断�?否�??要采集轨迹，如果�?要采集轨迹，则：
通知BMS采集和上传，gnss采集和上传的任务停掉
等待上述任务都停�?
�?掉上述任�?
�?始轨迹采集任�?
轨迹采集任务完成后，重启上述任务
*/
void father_task()
{
  switch (father.step)
  {
  case 0:
    if (need_path.need)
    {
      father.step++;
    }
    break;

  //通知任务停�??
  case 1:
    bms_read.to_stop = true;
    bms_upload.to_stop = true;
    gnss_read.to_stop = true;
    gnss_upload.to_stop = true;
    //tm_set(TM_FATHER,30000);//等待30秒钟
    father.step++;
    break;

  case 2:
    if (bms_read.stopped && bms_upload.stopped && gnss_read.stopped && gnss_upload.stopped)
      father.step++;
    break;

  case 3:
    killTask(task_bms_read);
    killTask(task_bms_upload);
    killTask(task_gnss_read);
    killTask(task_gnss_upload);
    bms_data_new = false;
    gnss_data_new = false;
    father.step++;
    break;

  case 4:
    memset(&track, 0x00, sizeof(stu_track_t));
    if ((TASK_INITIALIZED != configTask(task_track, track_task, TASK_1MS)) || (TASK_STARTED != startTask(task_track, 1)))
    {
      printf("CREATE TASK ERROR(%u)!\n", __LINE__);
      return;
    }
    father.step++;

    break;

  case 0x05:
    if (track.run_over)
    {
      //外部�?位need_path，重新�??测车辆持�?运�??
      need_path.need = false;
      killTask(task_track);
      printf("tasks reset\r\n");
      memset(&bms_read, 0x00, sizeof(stu_bms_upload));
      memset(&bms_upload, 0x00, sizeof(stu_bms_upload));
      memset(&gnss_read, 0x00, sizeof(stu_gnss_read));
      memset(&gnss_upload, 0x00, sizeof(stu_gnss_upload));

      if ((TASK_INITIALIZED != configTask(task_bms_read, data_read, TASK_100MS)) || (TASK_STARTED != startTask(task_bms_read, 1)))
      {
        printf("CREATE TASK ERROR(%u)!\n", __LINE__);
        return;
      }

      if ((TASK_INITIALIZED != configTask(task_bms_upload, data_upload, TASK_100MS)) || (TASK_STARTED != startTask(task_bms_upload, 1)))
      {
        printf("CREATE TASK ERROR(%u)!\n", __LINE__);
        return;
      }

      if ((TASK_INITIALIZED != configTask(task_gnss_read, gnss_read_task, TASK_100MS)) || (TASK_STARTED != startTask(task_gnss_read, 1)))
      {
        printf("CREATE TASK ERROR(%u)!\n", __LINE__);
        return;
      }

      if ((TASK_INITIALIZED != configTask(task_gnss_upload, gnss_upload_task, TASK_100MS)) || (TASK_STARTED != startTask(task_gnss_upload, 1)))
      {
        printf("CREATE TASK ERROR(%u)!\n", __LINE__);
        return;
      }
      father.step++;
    }
    break;

  default:
    father.step = 0;
    break;
  }
}
/* USER CODE END 4 */

void Error_Handler(void)
{
}

/************************ (C) COPYRIGHT STMicroelectronics *****END OF FILE****/
